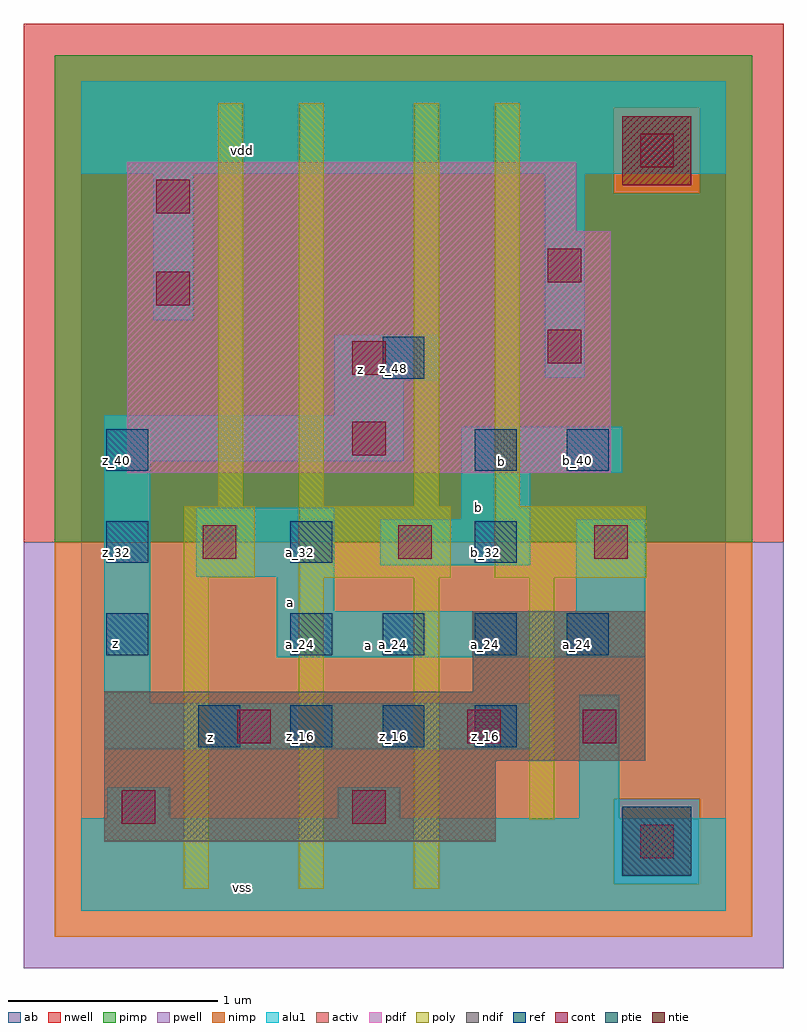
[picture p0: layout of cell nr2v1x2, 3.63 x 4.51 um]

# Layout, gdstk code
import gdstk
lib = gdstk.Library(unit=1e-6, precision=2.5e-09)
def R(c, l, rs):  # rectangles x0, y0, x1, y1
    for r in rs: c.add(gdstk.rectangle(r[:2], r[2:], *l))
def A(c, l, x, y, w, h, nx, ny, dx, dy):  # array of equal rectangles
    R(c, l, [(x+i*dx, y+j*dy, x+i*dx+w, y+j*dy+h) for i in range(nx) for j in range(ny)])
ndif = (3, 0)
pdif = (4, 0)
ntie = (5, 0)
ptie = (6, 0)
ref = (24, 0)
cont = (25, 0)
pwell = (41, 0)
nwell = (42, 0)
activ = (43, 0)
pimp = (44, 0)
nimp = (45, 0)
poly = (46, 0)
alu1 = (49, 0)
ab = (63, 0)

nr2v1x2 = lib.new_cell('nr2v1x2')
R(nr2v1x2, ndif, [(0.11,0.33,1.98,0.715), (0.11,0.715,2.695,1.045), (1.87,1.045,2.695,1.43)])
R(nr2v1x2, pdif, [(0.22,2.09,2.53,3.245), (0.22,3.245,2.365,3.575)])
R(nr2v1x2, ntie, [(2.585,3.465,2.915,3.795)])
R(nr2v1x2, ptie, [(2.585,0.165,2.915,0.495)])
A(nr2v1x2, ref, 0.56, 0.78, 0.2, 0.2, 4, 1, 0.44, 0)
A(nr2v1x2, ref, 1, 1.22, 0.2, 0.2, 4, 1, 0.44, 0)
A(nr2v1x2, ref, 0.12, 1.66, 0.2, 0.2, 3, 1, 0.88, 0)
R(nr2v1x2, ref, [(0.12,1.22,0.32,1.42), (0.12,2.1,0.32,2.3), (1.88,2.1,2.08,2.3), (2.32,2.1,2.52,2.3), (1.44,2.54,1.64,2.74)])
A(nr2v1x2, cont, 0.58, 1.68, 0.16, 0.16, 3, 1, 0.935, 0)
R(nr2v1x2, cont, [(2.67,0.25,2.83,0.41), (0.195,0.415,0.355,0.575), (1.295,0.415,1.455,0.575), (0.745,0.8,0.905,0.96), (1.845,0.8,2.005,0.96), (2.395,0.8,2.555,0.96), (1.295,2.175,1.455,2.335), (1.295,2.56,1.455,2.72), (2.23,2.615,2.39,2.775), (0.36,2.89,0.52,3.05), (2.23,3,2.39,3.16), (0.36,3.33,0.52,3.49), (2.67,3.55,2.83,3.71)])
R(nr2v1x2, pwell, [(-0.275,-0.275,3.355,1.76)])
R(nr2v1x2, nwell, [(-0.275,1.76,3.355,4.235)])
R(nr2v1x2, activ, [(2.585,0.165,2.915,0.495), (0.11,0.33,1.98,0.715), (0.11,0.715,2.695,1.045), (1.87,1.045,2.695,1.43), (0.22,2.09,2.53,3.245), (0.22,3.245,2.365,3.575), (2.585,3.465,2.915,3.795)])
R(nr2v1x2, pimp, [(2.545,0.125,2.955,0.535), (-0.125,1.76,3.205,3.425), (-0.125,3.425,2.545,3.835), (2.955,3.425,3.205,3.835), (-0.125,3.835,3.205,4.085)])
R(nr2v1x2, nimp, [(-0.125,-0.125,3.205,0.125), (-0.125,0.125,2.545,0.535), (2.955,0.125,3.205,0.535), (-0.125,0.535,3.205,1.76), (2.545,3.425,2.955,3.835)])
A(nr2v1x2, poly, 0.49, 0.105, 0.12, 1.485, 3, 1, 0.55, 0)
R(nr2v1x2, poly, [(2.14,0.435,2.26,1.59), (0.49,1.59,0.83,1.93), (1.04,1.59,1.765,1.93), (1.975,1.59,2.7,1.93), (0.655,1.93,0.775,3.855), (1.04,1.93,1.16,3.855), (1.59,1.93,1.71,3.855), (1.975,1.93,2.095,3.855)])
R(nr2v1x2, alu1, [(0,0,3.08,0.44), (0.125,0.44,0.425,0.59), (1.225,0.44,1.525,0.59), (2.38,0.44,2.57,1.03), (0.11,0.77,2.145,0.99), (0.11,0.99,0.33,2.145), (0.935,1.21,2.695,1.43), (0.935,1.43,1.21,1.595), (2.365,1.43,2.695,1.87), (0.55,1.595,1.21,1.925), (1.43,1.65,2.145,1.87), (1.815,1.87,2.145,2.09), (1.815,2.09,2.585,2.31), (0.11,2.145,1.54,2.365), (1.21,2.365,1.54,2.53), (1.21,2.53,1.705,2.75), (2.215,2.545,2.405,3.52), (0.345,2.82,0.535,3.52), (0,3.52,3.08,3.96)])
R(nr2v1x2, ab, [(0,0,3.08,3.96)])
nr2v1x2.add(gdstk.Label('vss', (0.77,0.11), layer=49, texttype=0))
nr2v1x2.add(gdstk.Label('z', (0.6175,0.825), layer=49, texttype=0))
nr2v1x2.add(gdstk.Label('a', (1.375,1.265), layer=49, texttype=0))
nr2v1x2.add(gdstk.Label('a', (1.0025,1.47), layer=49, texttype=0))
nr2v1x2.add(gdstk.Label('b', (1.8975,1.925), layer=49, texttype=0))
nr2v1x2.add(gdstk.Label('b', (2.0075,2.145), layer=49, texttype=0))
nr2v1x2.add(gdstk.Label('z', (0.165,1.2775), layer=49, texttype=0))
nr2v1x2.add(gdstk.Label('z', (1.3325,2.585), layer=49, texttype=0))
nr2v1x2.add(gdstk.Label('vdd', (0.77,3.63), layer=49, texttype=0))
nr2v1x2.add(gdstk.Label('a_24', (1.05,1.27), layer=24, texttype=0))
nr2v1x2.add(gdstk.Label('z_16', (0.61,0.83), layer=24, texttype=0))
nr2v1x2.add(gdstk.Label('z_24', (0.17,1.27), layer=24, texttype=0))
nr2v1x2.add(gdstk.Label('b_40', (2.37,2.15), layer=24, texttype=0))
nr2v1x2.add(gdstk.Label('a_24', (2.37,1.27), layer=24, texttype=0))
nr2v1x2.add(gdstk.Label('z_40', (0.17,2.15), layer=24, texttype=0))
nr2v1x2.add(gdstk.Label('z_32', (0.17,1.71), layer=24, texttype=0))
nr2v1x2.add(gdstk.Label('b_40', (1.93,2.15), layer=24, texttype=0))
nr2v1x2.add(gdstk.Label('b_32', (1.93,1.71), layer=24, texttype=0))
nr2v1x2.add(gdstk.Label('a_24', (1.93,1.27), layer=24, texttype=0))
nr2v1x2.add(gdstk.Label('z_16', (1.93,0.83), layer=24, texttype=0))
nr2v1x2.add(gdstk.Label('z_48', (1.49,2.59), layer=24, texttype=0))
nr2v1x2.add(gdstk.Label('a_24', (1.49,1.27), layer=24, texttype=0))
nr2v1x2.add(gdstk.Label('z_16', (1.49,0.83), layer=24, texttype=0))
nr2v1x2.add(gdstk.Label('a_32', (1.05,1.71), layer=24, texttype=0))
nr2v1x2.add(gdstk.Label('z_16', (1.05,0.83), layer=24, texttype=0))

lib.write_gds('nr2v1x2.gds')
